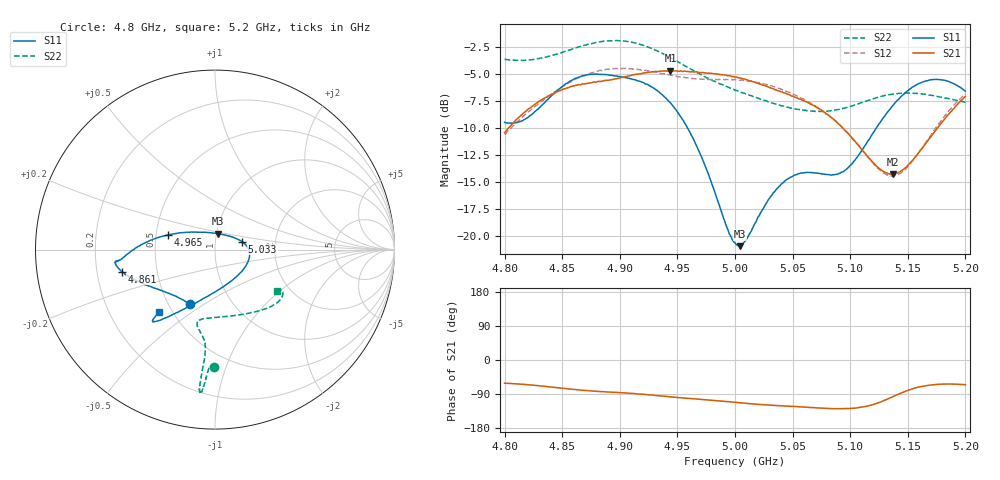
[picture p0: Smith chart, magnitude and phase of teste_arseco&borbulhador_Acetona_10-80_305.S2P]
! Network Analyzer HP8722D
! Hewlett-Packard
! Data name: Linha & Wilkinson
! Saver's name: Rodrigo Anjos
! Comments: Teste da utilização de aquisição
! continua pelo VNA HP8722D
! Time and date: 17/4/2025 16:54
!  Frequency  S11  S21  S12  S22
# HZ  S  MA R 50
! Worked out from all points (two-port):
!   401 points, 4.8 GHz to 5.2 GHz, reference 50 ohm
!   highest |S21| = -4.71 dB at 4.944 GHz (marker M1); lowest = -14.3 dB at 5.137 GHz (marker M2)
!   |S21| within 3 dB of the highest: 4.828 GHz to 5.064 GHz (236.4 MHz wide, 4.78 % of centre); 5.194074 GHz to end of sweep
!   lowest |S11| = -21.0 dB at 5.004 GHz (marker M3), VSWR 1.20, Z = 50.8 + j9.02 ohm
!   |S11| at or under -10 dB: 4.959 GHz to 5.123 GHz (164 MHz wide, 3.25 % of centre)
!   |S22| runs from -8.5 to -1.9 dB; largest |S21 - S12| = 0.87
!   S11 on the Smith chart (normalised r, x): 4.8 GHz: 0.64, -0.44; 4.861 GHz: 0.31, -0.11; 4.965 GHz: 0.58, +0.10; 5.033 GHz: 1.35, +0.12; 5.2 GHz: 0.42, -0.38
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4.8e9  0.3351 -114.8  0.2997 -61.3  0.2941 -175.5  0.6568 -90.5
4.819e9  0.3505 -134.9  0.3791 -64.9  0.368 -174.6  0.6518 -92.1
4.861e9  0.5348 -166.8  0.4954 -78.0  0.5287 -177.9  0.7389 -94.4
4.867e9  0.5484 -169.1  0.5049 -79.8  0.547 -179.0  0.7567 -94.6
4.9e9  0.5467 -173.4  0.538 -86.2  0.5948 174.7  0.8002 -96.0
4.934e9  0.4641 -179.2  0.576 -94.5  0.5695 171.1  0.7118 -96.4
4.944e9  0.4121 176.2  0.5811 -97.2  0.5542 171.3  0.6693 -96.0
4.965e9  0.2726 162.4  0.5735 -102.6  0.5336 173.0  0.5772 -95.5
4.994e9  0.1061 115.3  0.5509 -109.9  0.5292 175.3  0.4878 -98.3
5e9  0.09268 94.6  0.5436 -111.9  0.5301 175.5  0.4727 -99.5
5.004e9  0.08947 79.8  0.5383 -112.7  0.526 175.4  0.4646 -100.1
5.011e9  0.09841 55.7  0.5267 -114.9  0.5206 175.1  0.4509 -101.8
5.033e9  0.1574 16.5  0.4805 -119.5  0.4917 174.1  0.411 -103.4
5.049e9  0.187 0.5  0.4437 -122.2  0.4562 173.8  0.3897 -99.4
5.067e9  0.1959 -18.7  0.4039 -125.4  0.4076 172.9  0.3776 -89.7
5.096e9  0.202 -69.3  0.3055 -128.4  0.3062 174.6  0.392 -67.2
5.121e9  0.3053 -108.2  0.215 -116.6  0.2133 -171.3  0.433 -49.8
5.134e9  0.3832 -118.6  0.1935 -101.1  0.1895 -153.9  0.4503 -43.2
5.137e9  0.4011 -120.4  0.1926 -96.8  0.1895 -149.2  0.453 -41.9
5.148e9  0.4611 -125.3  0.2068 -82.4  0.2027 -132.6  0.4587 -37.7
5.17e9  0.5273 -130.4  0.2874 -66.0  0.2926 -112.2  0.4477 -32.5
5.2e9  0.4673 -131.7  0.4417 -65.3  0.4532 -107.4  0.4157 -34.0
